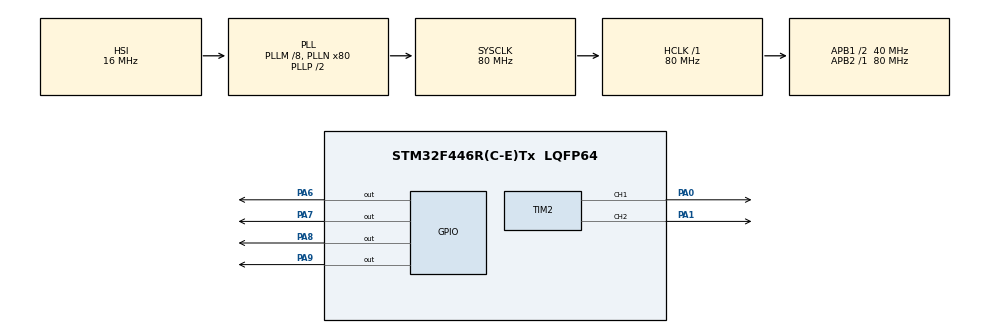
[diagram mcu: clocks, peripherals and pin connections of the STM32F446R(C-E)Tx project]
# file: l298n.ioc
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Mcu.Family=STM32F4
Mcu.Name=STM32F446R(C-E)Tx
Mcu.Package=LQFP64
NVIC.PriorityGroup=NVIC_PRIORITYGROUP_4
PA0-WKUP.Signal=S_TIM2_CH1_ETR
PA1.Signal=S_TIM2_CH2
PA6.Signal=GPIO_Output
PA7.Signal=GPIO_Output
PA8.Signal=GPIO_Output
PA9.Signal=GPIO_Output
ProjectManager.HeapSize=0x200
ProjectManager.StackSize=0x400
ProjectManager.TargetToolchain=STM32CubeIDE
RCC.AHBFreq_Value=80000000
RCC.APB1CLKDivider=RCC_HCLK_DIV2
RCC.APB1Freq_Value=40000000
RCC.APB1TimFreq_Value=80000000
RCC.APB2Freq_Value=80000000
RCC.APB2TimFreq_Value=80000000
RCC.CortexFreq_Value=80000000
RCC.HCLKFreq_Value=80000000
RCC.PLLM=8
RCC.PLLN=80
RCC.SYSCLKFreq_VALUE=80000000
RCC.SYSCLKSource=RCC_SYSCLKSOURCE_PLLCLK
RCC.USBFreq_Value=80000000
RCC.VCOOutputFreq_Value=160000000
SH.S_TIM2_CH1_ETR.0=TIM2_CH1,PWM Generation1 CH1
SH.S_TIM2_CH2.0=TIM2_CH2,PWM Generation2 CH2
TIM2.Channel-PWM\ Generation1\ CH1=TIM_CHANNEL_1
TIM2.Channel-PWM\ Generation2\ CH2=TIM_CHANNEL_2
board=custom

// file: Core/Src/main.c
/* USER CODE BEGIN Header */
/**
  ******************************************************************************
  * @file           : main.c
  * @brief          : Main program body
  ******************************************************************************
  * @attention
  *
  * Copyright (c) 2024 STMicroelectronics.
  * All rights reserved.
  *
  * This software is licensed under terms that can be found in the LICENSE file
  * in the root directory of this software component.
  * If no LICENSE file comes with this software, it is provided AS-IS.
  *
  ******************************************************************************
  */
/* USER CODE END Header */
#include "main.h"

/* USER CODE BEGIN Includes */
#include "l298n.h"
#include <stdio.h>
#include <stdlib.h>
#include <string.h>
/* USER CODE END Includes */

TIM_HandleTypeDef htim2;

void SystemClock_Config(void);
static void MX_GPIO_Init(void);
static void MX_TIM2_Init(void);

int main(void)
{

  /* MCU Configuration--------------------------------------------------------*/

  /* Reset of all peripherals, Initializes the Flash interface and the Systick. */
  HAL_Init();

  /* Configure the system clock */
  SystemClock_Config();

  /* Initialize all configured peripherals */
  MX_GPIO_Init();
  MX_TIM2_Init();
  /* USER CODE BEGIN 2 */
  l298n_init();
  /* USER CODE END 2 */

  /* Infinite loop */
  /* USER CODE BEGIN WHILE */
  while (1)
  {
	  // Motor 1: IN1 and IN2
	  // Spin Motor 1 clockwise
	  HAL_GPIO_WritePin(GPIOA, GPIO_PIN_8, GPIO_PIN_SET);   // Set IN1 to HIGH
	  HAL_GPIO_WritePin(GPIOA, GPIO_PIN_9, GPIO_PIN_RESET); // Set IN2 to LOW

	  for(int i = 0; i < 255; i++) {
		  __HAL_TIM_SET_COMPARE(&htim2, TIM_CHANNEL_1, i);
	  	  HAL_Delay(10);
	  }

	  // Spin Motor 1 counterclockwise
	  HAL_GPIO_WritePin(GPIOA, GPIO_PIN_8, GPIO_PIN_RESET); // Set IN1 to LOW
	  HAL_GPIO_WritePin(GPIOA, GPIO_PIN_9, GPIO_PIN_SET);   // Set IN2 to HIGH

	  for(int j = 255; j > 0; j--) {
		  __HAL_TIM_SET_COMPARE(&htim2, TIM_CHANNEL_1, j);
	  	  __HAL_TIM_SET_COMPARE(&htim2, TIM_CHANNEL_2, j);
	  	  HAL_Delay(10);
	  }

	  for(int j = 255; j > 0; j--) {
		  __HAL_TIM_SET_COMPARE(&htim2, TIM_CHANNEL_1, j);
	  	  HAL_Delay(10);
	  }

	  // Motor 2: IN3 and IN4
	  // Spin Motor 2 clockwise
	  HAL_GPIO_WritePin(GPIOA, GPIO_PIN_6, GPIO_PIN_SET);   // Set IN3 to HIGH
	  HAL_GPIO_WritePin(GPIOA, GPIO_PIN_7, GPIO_PIN_RESET); // Set IN4 to LOW

	  for(int k = 0; k < 255; k++) {
		  __HAL_TIM_SET_COMPARE(&htim2, TIM_CHANNEL_2, k);
	  	  HAL_Delay(10);
	  }

	  // Spin Motor 2 counterclockwise
	  HAL_GPIO_WritePin(GPIOA, GPIO_PIN_6, GPIO_PIN_RESET); // Set IN3 to LOW
	  HAL_GPIO_WritePin(GPIOA, GPIO_PIN_7, GPIO_PIN_SET);   // Set IN4 to HIGH

	  for(int l = 255; l > 0; l--) {
		  __HAL_TIM_SET_COMPARE(&htim2, TIM_CHANNEL_2, l);
	  	  HAL_Delay(10);
	  }
    /* USER CODE END WHILE */

  }
}

void SystemClock_Config(void)
{
  RCC_OscInitTypeDef RCC_OscInitStruct = {0};
  RCC_ClkInitTypeDef RCC_ClkInitStruct = {0};

  /** Configure the main internal regulator output voltage
  */
  __HAL_RCC_PWR_CLK_ENABLE();
  __HAL_PWR_VOLTAGESCALING_CONFIG(PWR_REGULATOR_VOLTAGE_SCALE3);

  /** Initializes the RCC Oscillators according to the specified parameters
  * in the RCC_OscInitTypeDef structure.
  */
  RCC_OscInitStruct.OscillatorType = RCC_OSCILLATORTYPE_HSI;
  RCC_OscInitStruct.HSIState = RCC_HSI_ON;
  RCC_OscInitStruct.HSICalibrationValue = RCC_HSICALIBRATION_DEFAULT;
  RCC_OscInitStruct.PLL.PLLState = RCC_PLL_ON;
  RCC_OscInitStruct.PLL.PLLSource = RCC_PLLSOURCE_HSI;
  RCC_OscInitStruct.PLL.PLLM = 8;
  RCC_OscInitStruct.PLL.PLLN = 80;
  RCC_OscInitStruct.PLL.PLLP = RCC_PLLP_DIV2;
  RCC_OscInitStruct.PLL.PLLQ = 2;
  RCC_OscInitStruct.PLL.PLLR = 2;
  if (HAL_RCC_OscConfig(&RCC_OscInitStruct) != HAL_OK)
  {
    Error_Handler();
  }

  /** Initializes the CPU, AHB and APB buses clocks
  */
  RCC_ClkInitStruct.ClockType = RCC_CLOCKTYPE_HCLK|RCC_CLOCKTYPE_SYSCLK
                              |RCC_CLOCKTYPE_PCLK1|RCC_CLOCKTYPE_PCLK2;
  RCC_ClkInitStruct.SYSCLKSource = RCC_SYSCLKSOURCE_PLLCLK;
  RCC_ClkInitStruct.AHBCLKDivider = RCC_SYSCLK_DIV1;
  RCC_ClkInitStruct.APB1CLKDivider = RCC_HCLK_DIV2;
  RCC_ClkInitStruct.APB2CLKDivider = RCC_HCLK_DIV1;

  if (HAL_RCC_ClockConfig(&RCC_ClkInitStruct, FLASH_LATENCY_2) != HAL_OK)
  {
    Error_Handler();
  }
}

static void MX_TIM2_Init(void)
{

  TIM_MasterConfigTypeDef sMasterConfig = {0};
  TIM_OC_InitTypeDef sConfigOC = {0};

  htim2.Instance = TIM2;
  htim2.Init.Prescaler = 0;
  htim2.Init.CounterMode = TIM_COUNTERMODE_UP;
  htim2.Init.Period = 4294967295;
  htim2.Init.ClockDivision = TIM_CLOCKDIVISION_DIV1;
  htim2.Init.AutoReloadPreload = TIM_AUTORELOAD_PRELOAD_DISABLE;
  if (HAL_TIM_PWM_Init(&htim2) != HAL_OK)
  {
    Error_Handler();
  }
  sMasterConfig.MasterOutputTrigger = TIM_TRGO_RESET;
  sMasterConfig.MasterSlaveMode = TIM_MASTERSLAVEMODE_DISABLE;
  if (HAL_TIMEx_MasterConfigSynchronization(&htim2, &sMasterConfig) != HAL_OK)
  {
    Error_Handler();
  }
  sConfigOC.OCMode = TIM_OCMODE_PWM1;
  sConfigOC.Pulse = 0;
  sConfigOC.OCPolarity = TIM_OCPOLARITY_HIGH;
  sConfigOC.OCFastMode = TIM_OCFAST_DISABLE;
  if (HAL_TIM_PWM_ConfigChannel(&htim2, &sConfigOC, TIM_CHANNEL_1) != HAL_OK)
  {
    Error_Handler();
  }
  if (HAL_TIM_PWM_ConfigChannel(&htim2, &sConfigOC, TIM_CHANNEL_2) != HAL_OK)
  {
    Error_Handler();
  }
  HAL_TIM_MspPostInit(&htim2);

}

static void MX_GPIO_Init(void)
{
  GPIO_InitTypeDef GPIO_InitStruct = {0};

  /* GPIO Ports Clock Enable */
  __HAL_RCC_GPIOA_CLK_ENABLE();

  /*Configure GPIO pin Output Level */
  HAL_GPIO_WritePin(GPIOA, GPIO_PIN_6|GPIO_PIN_7|GPIO_PIN_8|GPIO_PIN_9, GPIO_PIN_RESET);

  /*Configure GPIO pins : PA6 PA7 PA8 PA9 */
  GPIO_InitStruct.Pin = GPIO_PIN_6|GPIO_PIN_7|GPIO_PIN_8|GPIO_PIN_9;
  GPIO_InitStruct.Mode = GPIO_MODE_OUTPUT_PP;
  GPIO_InitStruct.Pull = GPIO_NOPULL;
  GPIO_InitStruct.Speed = GPIO_SPEED_FREQ_LOW;
  HAL_GPIO_Init(GPIOA, &GPIO_InitStruct);

}

/* USER CODE BEGIN 4 */
int _write(int file, char *ptr, int len)
{
  (void)file;
  int DataIdx;

  for (DataIdx = 0; DataIdx < len; DataIdx++)
  {
    ITM_SendChar(*ptr++);
  }
  return len;
}
/* USER CODE END 4 */

void Error_Handler(void)
{
  __disable_irq();
  while (1)
  {
  }
}
